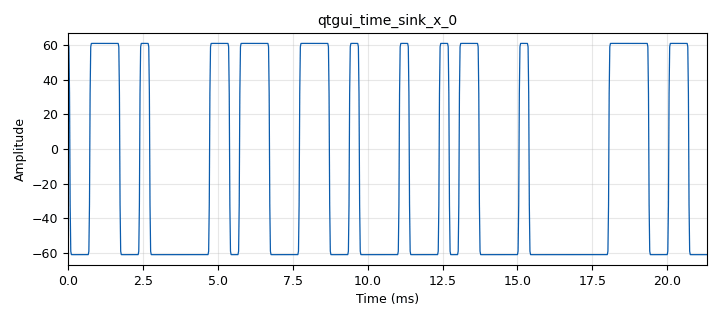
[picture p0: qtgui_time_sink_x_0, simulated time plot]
<?xml version='1.0' encoding='utf-8'?>
<?grc format='1' created='3.7.9'?>
<flow_graph>
<block>
<key>options</key>
<param><key>id</key><value>top_block</value></param>
<param><key>category</key><value>Custom</value></param>
<param><key>generate_options</key><value>qt_gui</value></param>
</block>
<block>
<key>variable</key>
<param><key>id</key><value>fsk_deviation_hz</value></param>
<param><key>value</key><value>1000</value></param>
</block>
<block>
<key>variable</key>
<param><key>id</key><value>samp_rate</value></param>
<param><key>value</key><value>48000</value></param>
</block>
<block>
<key>analog_quadrature_demod_cf</key>
<param><key>id</key><value>analog_quadrature_demod_cf_0</value></param>
<param><key>gain</key><value>samp_rate/(2*math.pi*fsk_deviation_hz/8.0)</value></param>
</block>
<block>
<key>analog_random_uniform_source_x</key>
<param><key>id</key><value>analog_random_uniform_source_x_0</value></param>
<param><key>_enabled</key><value>0</value></param>
<param><key>maximum</key><value>127</value></param>
<param><key>minimum</key><value>-128</value></param>
<param><key>type</key><value>int</value></param>
<param><key>seed</key><value>0</value></param>
</block>
<block>
<key>analog_random_uniform_source_x</key>
<param><key>id</key><value>analog_random_uniform_source_x_0_0</value></param>
<param><key>maximum</key><value>1</value></param>
<param><key>minimum</key><value>-1</value></param>
<param><key>type</key><value>byte</value></param>
<param><key>seed</key><value>0</value></param>
</block>
<block>
<key>analog_sig_source_x</key>
<param><key>id</key><value>analog_sig_source_x_0</value></param>
<param><key>amp</key><value>.2</value></param>
<param><key>_enabled</key><value>0</value></param>
<param><key>freq</key><value>1000</value></param>
<param><key>offset</key><value>0</value></param>
<param><key>type</key><value>complex</value></param>
<param><key>samp_rate</key><value>samp_rate</value></param>
<param><key>waveform</key><value>analog.GR_COS_WAVE</value></param>
</block>
<block>
<key>audio_sink</key>
<param><key>id</key><value>audio_sink_0</value></param>
<param><key>num_inputs</key><value>2</value></param>
<param><key>samp_rate</key><value>samp_rate</value></param>
</block>
<block>
<key>blocks_complex_to_float</key>
<param><key>id</key><value>blocks_complex_to_float_0</value></param>
</block>
<block>
<key>blocks_int_to_float</key>
<param><key>id</key><value>blocks_int_to_float_0</value></param>
<param><key>_enabled</key><value>0</value></param>
<param><key>scale</key><value>1</value></param>
</block>
<block>
<key>blocks_multiply_const_vxx</key>
<param><key>id</key><value>blocks_multiply_const_vxx_0</value></param>
<param><key>const</key><value>1/255.</value></param>
<param><key>_enabled</key><value>0</value></param>
<param><key>type</key><value>float</value></param>
</block>
<block>
<key>blocks_throttle</key>
<param><key>id</key><value>blocks_throttle_0</value></param>
<param><key>_enabled</key><value>0</value></param>
<param><key>samples_per_second</key><value>samp_rate</value></param>
<param><key>type</key><value>int</value></param>
</block>
<block>
<key>blocks_vco_c</key>
<param><key>id</key><value>blocks_vco_c_0</value></param>
<param><key>amplitude</key><value>1</value></param>
<param><key>_enabled</key><value>0</value></param>
<param><key>samp_rate</key><value>samp_rate</value></param>
<param><key>sensitivity</key><value>1/(2*math.pi)</value></param>
</block>
<block>
<key>channels_fading_model</key>
<param><key>id</key><value>channels_fading_model_0</value></param>
<param><key>_enabled</key><value>0</value></param>
<param><key>LOS</key><value>True</value></param>
<param><key>fDTs</key><value>10.0/samp_rate</value></param>
<param><key>N</key><value>3</value></param>
<param><key>K</key><value>4.0</value></param>
<param><key>seed</key><value>0</value></param>
</block>
<block>
<key>digital_gfsk_mod</key>
<param><key>id</key><value>digital_gfsk_mod_0</value></param>
<param><key>bt</key><value>0.35</value></param>
<param><key>samples_per_symbol</key><value>2</value></param>
<param><key>sensitivity</key><value>1.0</value></param>
</block>
<block>
<key>qtgui_number_sink</key>
<param><key>id</key><value>qtgui_number_sink_0</value></param>
<param><key>graph_type</key><value>qtgui.NUM_GRAPH_HORIZ</value></param>
<param><key>type</key><value>float</value></param>
<param><key>label1</key><value>Out</value></param>
</block>
<block>
<key>qtgui_number_sink</key>
<param><key>id</key><value>qtgui_number_sink_0_1</value></param>
<param><key>_enabled</key><value>0</value></param>
<param><key>graph_type</key><value>qtgui.NUM_GRAPH_HORIZ</value></param>
<param><key>type</key><value>float</value></param>
<param><key>label1</key><value>Out</value></param>
<param><key>max</key><value>127</value></param>
<param><key>min</key><value>-128</value></param>
</block>
<block>
<key>qtgui_time_sink_x</key>
<param><key>id</key><value>qtgui_time_sink_x_0</value></param>
<param><key>autoscale</key><value>True</value></param>
<param><key>color1</key><value>"blue"</value></param>
<param><key>label1</key><value></value></param>
<param><key>size</key><value>1024</value></param>
<param><key>srate</key><value>samp_rate</value></param>
<param><key>type</key><value>float</value></param>
<param><key>ymax</key><value>10</value></param>
<param><key>ymin</key><value>-10</value></param>
</block>
<block>
<key>qtgui_time_sink_x</key>
<param><key>id</key><value>qtgui_time_sink_x_0_0</value></param>
<param><key>autoscale</key><value>True</value></param>
<param><key>_enabled</key><value>0</value></param>
<param><key>color1</key><value>"blue"</value></param>
<param><key>label1</key><value></value></param>
<param><key>color2</key><value>"red"</value></param>
<param><key>label2</key><value></value></param>
<param><key>size</key><value>1024</value></param>
<param><key>srate</key><value>samp_rate</value></param>
<param><key>type</key><value>complex</value></param>
</block>
<connection><source_block_id>analog_quadrature_demod_cf_0</source_block_id><sink_block_id>qtgui_number_sink_0</sink_block_id><source_key>0</source_key><sink_key>0</sink_key></connection>
<connection><source_block_id>analog_quadrature_demod_cf_0</source_block_id><sink_block_id>qtgui_time_sink_x_0</sink_block_id><source_key>0</source_key><sink_key>0</sink_key></connection>
<connection><source_block_id>analog_random_uniform_source_x_0</source_block_id><sink_block_id>blocks_throttle_0</sink_block_id><source_key>0</source_key><sink_key>0</sink_key></connection>
<connection><source_block_id>analog_random_uniform_source_x_0_0</source_block_id><sink_block_id>digital_gfsk_mod_0</sink_block_id><source_key>0</source_key><sink_key>0</sink_key></connection>
<connection><source_block_id>analog_sig_source_x_0</source_block_id><sink_block_id>channels_fading_model_0</sink_block_id><source_key>0</source_key><sink_key>0</sink_key></connection>
<connection><source_block_id>blocks_complex_to_float_0</source_block_id><sink_block_id>audio_sink_0</sink_block_id><source_key>1</source_key><sink_key>1</sink_key></connection>
<connection><source_block_id>blocks_complex_to_float_0</source_block_id><sink_block_id>audio_sink_0</sink_block_id><source_key>0</source_key><sink_key>0</sink_key></connection>
<connection><source_block_id>blocks_int_to_float_0</source_block_id><sink_block_id>blocks_multiply_const_vxx_0</sink_block_id><source_key>0</source_key><sink_key>0</sink_key></connection>
<connection><source_block_id>blocks_int_to_float_0</source_block_id><sink_block_id>qtgui_number_sink_0_1</sink_block_id><source_key>0</source_key><sink_key>0</sink_key></connection>
<connection><source_block_id>blocks_multiply_const_vxx_0</source_block_id><sink_block_id>blocks_vco_c_0</sink_block_id><source_key>0</source_key><sink_key>0</sink_key></connection>
<connection><source_block_id>blocks_throttle_0</source_block_id><sink_block_id>blocks_int_to_float_0</sink_block_id><source_key>0</source_key><sink_key>0</sink_key></connection>
<connection><source_block_id>blocks_vco_c_0</source_block_id><sink_block_id>analog_quadrature_demod_cf_0</sink_block_id><source_key>0</source_key><sink_key>0</sink_key></connection>
<connection><source_block_id>channels_fading_model_0</source_block_id><sink_block_id>analog_quadrature_demod_cf_0</sink_block_id><source_key>0</source_key><sink_key>0</sink_key></connection>
<connection><source_block_id>channels_fading_model_0</source_block_id><sink_block_id>blocks_complex_to_float_0</sink_block_id><source_key>0</source_key><sink_key>0</sink_key></connection>
<connection><source_block_id>channels_fading_model_0</source_block_id><sink_block_id>qtgui_time_sink_x_0_0</sink_block_id><source_key>0</source_key><sink_key>0</sink_key></connection>
<connection><source_block_id>digital_gfsk_mod_0</source_block_id><sink_block_id>analog_quadrature_demod_cf_0</sink_block_id><source_key>0</source_key><sink_key>0</sink_key></connection>
<connection><source_block_id>digital_gfsk_mod_0</source_block_id><sink_block_id>blocks_complex_to_float_0</sink_block_id><source_key>0</source_key><sink_key>0</sink_key></connection>
</flow_graph>
